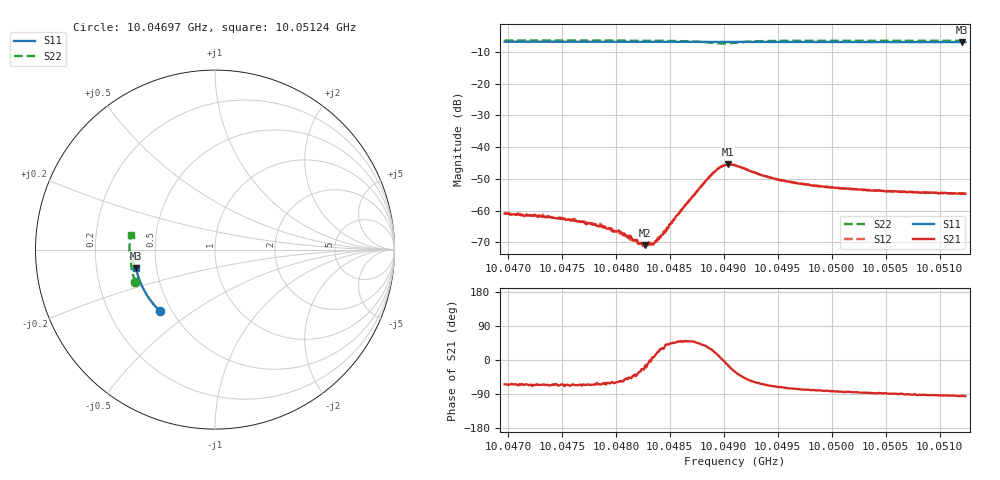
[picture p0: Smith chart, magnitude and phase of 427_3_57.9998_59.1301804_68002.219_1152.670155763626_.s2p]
#  HZ  S  RI  R  50.00
! Rohde & Schwarz Vector Network Analyzer
! Rohde-Schwarz,ZNB20-2Port,1311601062101988,3.16
! Created: UTC 3/21/2024, 1:09:24 AM
! freq[Hz]  re:S11  im:S11  re:S21  im:S21  re:S12  im:S12  re:S22  im:S22
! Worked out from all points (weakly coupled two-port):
!   401 points, 10.04697 GHz to 10.05124 GHz, reference 50 ohm
!   highest |S21| = -45.47 dB at 10.04904 GHz (marker M1); lowest = -70.9 dB at 10.04827 GHz (marker M2)
!   lowest |S11| = -6.9 dB at 10.05121 GHz (marker M3), VSWR 2.65, Z = 19.1 - j5.05 ohm
!   |S11| at or under -10 dB: nowhere
!   |S22| runs from -7.4 to -6.4 dB; largest |S21 - S12| = 0.00038
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1.004697e10  -0.305 -0.3437  0.000391 -0.000809  0.000481 -0.000809  -0.4442 -0.1819
1.0047311e10  -0.3209 -0.3279  0.000328 -0.000731  0.000389 -0.000711  -0.4519 -0.16
1.0047631e10  -0.3353 -0.3123  0.00028 -0.000638  0.00034 -0.00063  -0.4579 -0.1387
1.0047685e10  -0.3377 -0.3096  0.000253 -0.000617  0.000306 -0.0006  -0.4589 -0.1352
1.0047877e10  -0.3455 -0.2998  0.000267 -0.000493  0.000311 -0.000487  -0.462 -0.1219
1.0047973e10  -0.3496 -0.295  0.000237 -0.000401  0.000277 -0.000402  -0.4633 -0.1151
1.0048026e10  -0.3519 -0.2922  0.000259 -0.000413  0.000259 -0.000376  -0.464 -0.1112
1.0048229e10  -0.36 -0.2815  0.00026 -0.000153  0.000273 -0.00014  -0.4661 -0.096
1.0048271e10  -0.3615 -0.2793  0.000275 -6.78e-05  0.000286 -5.67e-05  -0.4665 -0.0927
1.0048357e10  -0.3648 -0.2748  0.000305 4.8e-05  0.000309 9.83e-05  -0.4669 -0.0857
1.00484e10  -0.3666 -0.2724  0.00033 0.000134  0.000331 0.000185  -0.4671 -0.0823
1.0048464e10  -0.3689 -0.2689  0.000355 0.000308  0.000375 0.000312  -0.4669 -0.0767
1.004857e10  -0.3729 -0.2632  0.00056 0.000643  0.000531 0.000665  -0.4657 -0.0668
1.0048858e10  -0.3828 -0.247  0.00277 0.00177  0.00265 0.00194  -0.445 -0.0404
1.0048954e10  -0.3858 -0.2417  0.00457 0.000823  0.00455 0.00114  -0.4293 -0.0455
1.004904e10  -0.3884 -0.2369  0.00517 -0.00129  0.00527 -0.00101  -0.4272 -0.0617
1.0049104e10  -0.3906 -0.2334  0.00443 -0.00269  0.00463 -0.00238  -0.4364 -0.0696
1.0049456e10  -0.4017 -0.2131  0.00117 -0.00301  0.00136 -0.00297  -0.4696 -0.0453
1.0049819e10  -0.412 -0.1915  0.000454 -0.00243  0.000628 -0.00244  -0.4755 -0.0154
1.0050534e10  -0.4283 -0.1477  5.08e-05 -0.00203  0.000155 -0.00202  -0.4751 0.0361
1.0051206e10  -0.4398 -0.1052  -0.000154 -0.00188  -6.86e-05 -0.00186  -0.4691 0.0811
1.0051238e10  -0.4403 -0.1031  -0.00018 -0.00185  -4.95e-05 -0.00186  -0.4689 0.0832
